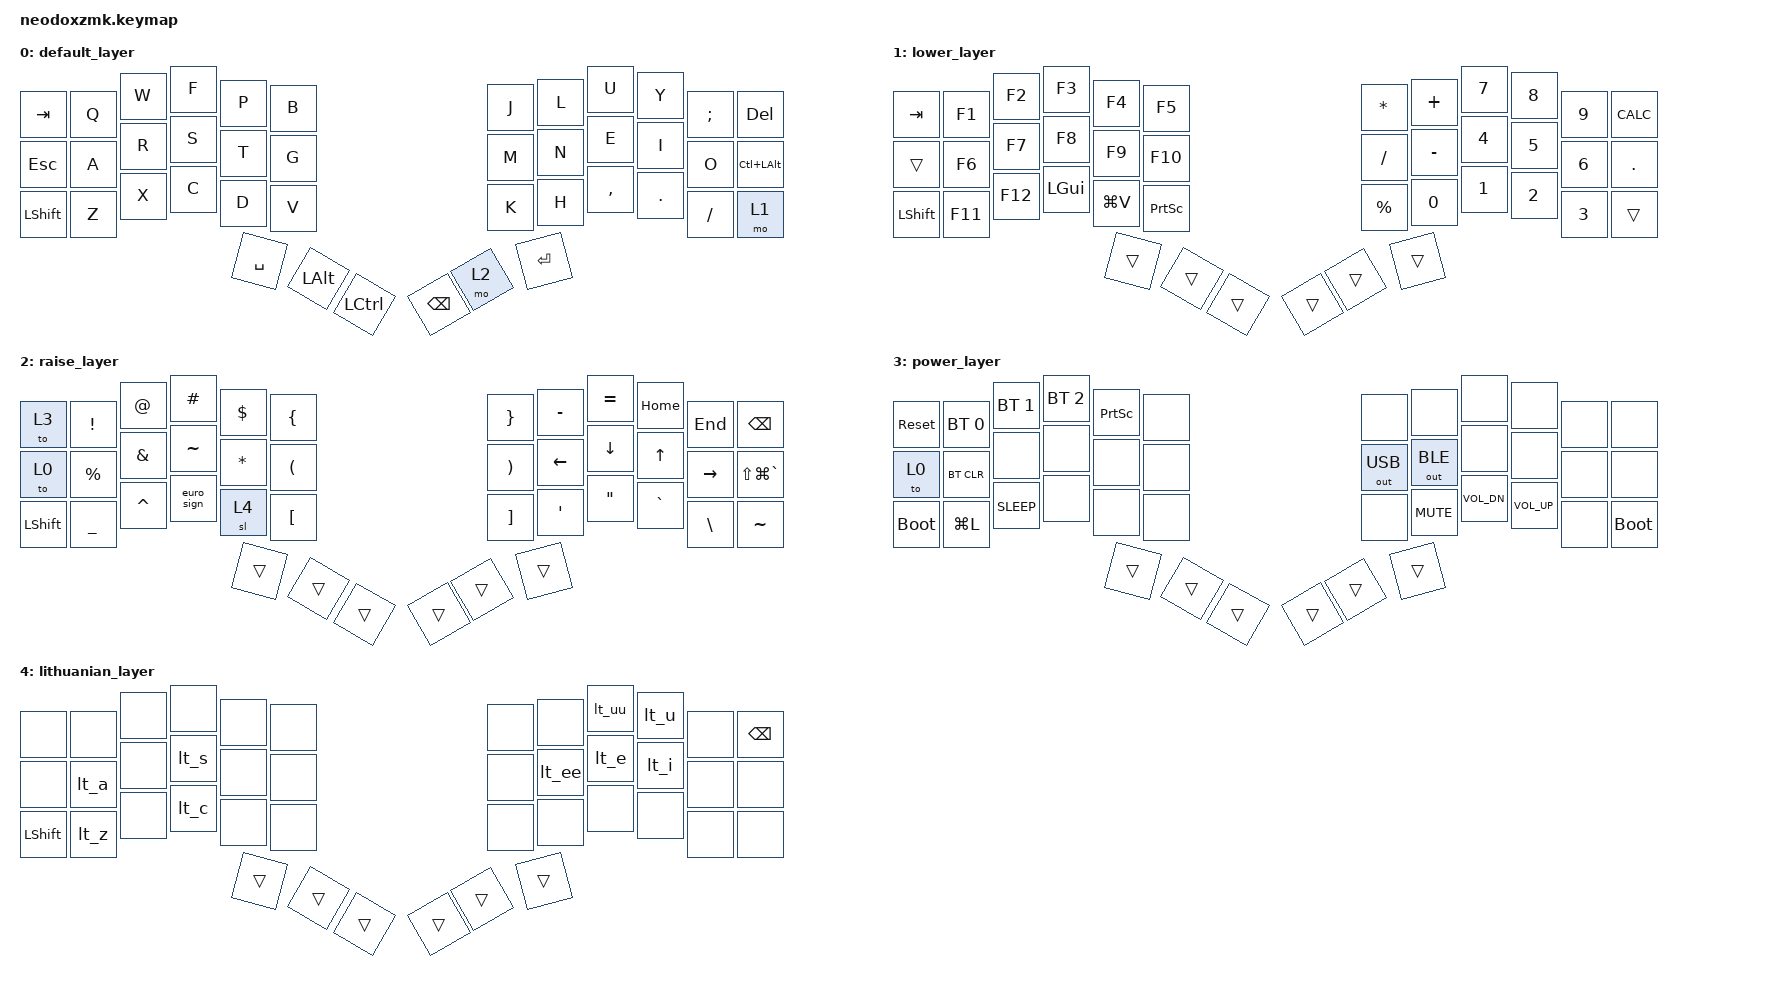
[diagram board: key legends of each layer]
#include <behaviors.dtsi>
#include <dt-bindings/zmk/keys.h>
#include <dt-bindings/zmk/bt.h>
#include <dt-bindings/zmk/outputs.h>

/ {
    /* Unicode via macOS "Unicode Hex Input" layout: hold Option and type the code point */
    macros {
        euro_sign: euro_sign { compatible = "zmk,behavior-macro"; #binding-cells = <0>; bindings = <&macro_press &kp LALT>, <&macro_tap &kp N2 &kp N0 &kp A &kp C>, <&macro_release &kp LALT>; };

        /* Lithuanian Macros (lowercase / uppercase) + Auto-Return to Layer 0 */
        lt_a_lo: lt_a_lo { compatible = "zmk,behavior-macro"; #binding-cells = <0>; bindings = <&macro_press &kp LALT>, <&macro_tap &kp N0 &kp N1 &kp N0 &kp N5>, <&macro_release &kp LALT>, <&to 0>; };
        lt_a_up: lt_a_up { compatible = "zmk,behavior-macro"; #binding-cells = <0>; bindings = <&macro_press &kp LALT>, <&macro_tap &kp N0 &kp N1 &kp N0 &kp N4>, <&macro_release &kp LALT>, <&to 0>; };
        lt_c_lo: lt_c_lo { compatible = "zmk,behavior-macro"; #binding-cells = <0>; bindings = <&macro_press &kp LALT>, <&macro_tap &kp N0 &kp N1 &kp N0 &kp D>, <&macro_release &kp LALT>, <&to 0>; };
        lt_c_up: lt_c_up { compatible = "zmk,behavior-macro"; #binding-cells = <0>; bindings = <&macro_press &kp LALT>, <&macro_tap &kp N0 &kp N1 &kp N0 &kp C>, <&macro_release &kp LALT>, <&to 0>; };
        lt_e_lo: lt_e_lo { compatible = "zmk,behavior-macro"; #binding-cells = <0>; bindings = <&macro_press &kp LALT>, <&macro_tap &kp N0 &kp N1 &kp N1 &kp N9>, <&macro_release &kp LALT>, <&to 0>; };
        lt_e_up: lt_e_up { compatible = "zmk,behavior-macro"; #binding-cells = <0>; bindings = <&macro_press &kp LALT>, <&macro_tap &kp N0 &kp N1 &kp N1 &kp N8>, <&macro_release &kp LALT>, <&to 0>; };
        lt_ee_lo: lt_ee_lo { compatible = "zmk,behavior-macro"; #binding-cells = <0>; bindings = <&macro_press &kp LALT>, <&macro_tap &kp N0 &kp N1 &kp N1 &kp N7>, <&macro_release &kp LALT>, <&to 0>; };
        lt_ee_up: lt_ee_up { compatible = "zmk,behavior-macro"; #binding-cells = <0>; bindings = <&macro_press &kp LALT>, <&macro_tap &kp N0 &kp N1 &kp N1 &kp N6>, <&macro_release &kp LALT>, <&to 0>; };
        lt_i_lo: lt_i_lo { compatible = "zmk,behavior-macro"; #binding-cells = <0>; bindings = <&macro_press &kp LALT>, <&macro_tap &kp N0 &kp N1 &kp N2 &kp F>, <&macro_release &kp LALT>, <&to 0>; };
        lt_i_up: lt_i_up { compatible = "zmk,behavior-macro"; #binding-cells = <0>; bindings = <&macro_press &kp LALT>, <&macro_tap &kp N0 &kp N1 &kp N2 &kp E>, <&macro_release &kp LALT>, <&to 0>; };
        lt_s_lo: lt_s_lo { compatible = "zmk,behavior-macro"; #binding-cells = <0>; bindings = <&macro_press &kp LALT>, <&macro_tap &kp N0 &kp N1 &kp N6 &kp N1>, <&macro_release &kp LALT>, <&to 0>; };
        lt_s_up: lt_s_up { compatible = "zmk,behavior-macro"; #binding-cells = <0>; bindings = <&macro_press &kp LALT>, <&macro_tap &kp N0 &kp N1 &kp N6 &kp N0>, <&macro_release &kp LALT>, <&to 0>; };
        lt_u_lo: lt_u_lo { compatible = "zmk,behavior-macro"; #binding-cells = <0>; bindings = <&macro_press &kp LALT>, <&macro_tap &kp N0 &kp N1 &kp N7 &kp N3>, <&macro_release &kp LALT>, <&to 0>; };
        lt_u_up: lt_u_up { compatible = "zmk,behavior-macro"; #binding-cells = <0>; bindings = <&macro_press &kp LALT>, <&macro_tap &kp N0 &kp N1 &kp N7 &kp N2>, <&macro_release &kp LALT>, <&to 0>; };
        lt_uu_lo: lt_uu_lo { compatible = "zmk,behavior-macro"; #binding-cells = <0>; bindings = <&macro_press &kp LALT>, <&macro_tap &kp N0 &kp N1 &kp N6 &kp B>, <&macro_release &kp LALT>, <&to 0>; };
        lt_uu_up: lt_uu_up { compatible = "zmk,behavior-macro"; #binding-cells = <0>; bindings = <&macro_press &kp LALT>, <&macro_tap &kp N0 &kp N1 &kp N6 &kp A>, <&macro_release &kp LALT>, <&to 0>; };
        lt_z_lo: lt_z_lo { compatible = "zmk,behavior-macro"; #binding-cells = <0>; bindings = <&macro_press &kp LALT>, <&macro_tap &kp N0 &kp N1 &kp N7 &kp E>, <&macro_release &kp LALT>, <&to 0>; };
        lt_z_up: lt_z_up { compatible = "zmk,behavior-macro"; #binding-cells = <0>; bindings = <&macro_press &kp LALT>, <&macro_tap &kp N0 &kp N1 &kp N7 &kp D>, <&macro_release &kp LALT>, <&to 0>; };
    };

    behaviors {
        /* Lithuanian letters: Shift picks uppercase */
        lt_a: lt_a { compatible = "zmk,behavior-mod-morph"; #binding-cells = <0>; bindings = <&lt_a_lo>, <&lt_a_up>; mods = <(MOD_LSFT|MOD_RSFT)>; };  /* ą Ą */
        lt_c: lt_c { compatible = "zmk,behavior-mod-morph"; #binding-cells = <0>; bindings = <&lt_c_lo>, <&lt_c_up>; mods = <(MOD_LSFT|MOD_RSFT)>; };  /* č Č */
        lt_e: lt_e { compatible = "zmk,behavior-mod-morph"; #binding-cells = <0>; bindings = <&lt_e_lo>, <&lt_e_up>; mods = <(MOD_LSFT|MOD_RSFT)>; };  /* ę Ę */
        lt_ee: lt_ee { compatible = "zmk,behavior-mod-morph"; #binding-cells = <0>; bindings = <&lt_ee_lo>, <&lt_ee_up>; mods = <(MOD_LSFT|MOD_RSFT)>; };  /* ė Ė */
        lt_i: lt_i { compatible = "zmk,behavior-mod-morph"; #binding-cells = <0>; bindings = <&lt_i_lo>, <&lt_i_up>; mods = <(MOD_LSFT|MOD_RSFT)>; };  /* į Į */
        lt_s: lt_s { compatible = "zmk,behavior-mod-morph"; #binding-cells = <0>; bindings = <&lt_s_lo>, <&lt_s_up>; mods = <(MOD_LSFT|MOD_RSFT)>; };  /* š Š */
        lt_u: lt_u { compatible = "zmk,behavior-mod-morph"; #binding-cells = <0>; bindings = <&lt_u_lo>, <&lt_u_up>; mods = <(MOD_LSFT|MOD_RSFT)>; };  /* ų Ų */
        lt_uu: lt_uu { compatible = "zmk,behavior-mod-morph"; #binding-cells = <0>; bindings = <&lt_uu_lo>, <&lt_uu_up>; mods = <(MOD_LSFT|MOD_RSFT)>; };  /* ū Ū */
        lt_z: lt_z { compatible = "zmk,behavior-mod-morph"; #binding-cells = <0>; bindings = <&lt_z_lo>, <&lt_z_up>; mods = <(MOD_LSFT|MOD_RSFT)>; };  /* ž Ž */
    };

    keymap {
        compatible = "zmk,keymap";

        /* LAYER 0: DEFAULT */
        default_layer {
            bindings = <
&kp TAB    &kp Q  &kp W  &kp F      &kp P      &kp B                    &kp J          &kp L  &kp U      &kp Y    &kp SEMI  &kp DEL
&kp ESC    &kp A  &kp R  &kp S      &kp T      &kp G                    &kp M          &kp N  &kp E      &kp I    &kp O     &kp LC(LALT)
&kp LSHFT  &kp Z  &kp X  &kp C      &kp D      &kp V                    &kp K          &kp H  &kp COMMA  &kp DOT  &kp FSLH  &mo 1
                         &kp SPACE  &kp LALT   &kp LCTRL                &kp BSPC       &mo 2  &kp ENTER
            >;
        };

        /* LAYER 1: LOWER */
        lower_layer {
            bindings = <
&kp TAB     &kp F1  &kp F2  &kp F3  &kp F4  &kp F5                 &kp ASTRK  &kp PLUS   &kp N7  &kp N8  &kp N9  &kp K_CALC
&trans      &kp F6  &kp F7  &kp F8  &kp F9  &kp F10                &kp SLASH  &kp MINUS  &kp N4  &kp N5  &kp N6  &kp DOT
&kp LSHFT   &kp F11 &kp F12 &kp LGUI &kp LG(V) &kp PSCRN              &kp PRCNT  &kp N0     &kp N1  &kp N2  &kp N3  &trans
                            &trans  &trans  &trans                 &trans     &trans     &trans
            >;
        };

        /* LAYER 2: RAISE */
        raise_layer {
            bindings = <
&to 3      &kp EXCL        &kp AT    &kp HASH   &kp DLLR   &kp LBRC      &kp RBRC  &kp MINUS  &kp EQUAL        &kp HOME  &kp END   &kp BSPC
&to 0      &kp PRCNT       &kp AMPS  &kp TILDE  &kp ASTRK  &kp LPAR      &kp RPAR  &kp LEFT   &kp DOWN         &kp UP    &kp RIGHT &kp LS(LG(GRAVE))
&kp LSHFT  &kp UNDERSCORE  &kp CARET &euro_sign &sl 4      &kp LBKT      &kp RBKT  &kp SQT    &kp DQT          &kp GRAVE &kp BSLH  &kp TILDE
                                     &trans     &trans     &trans        &trans    &trans     &trans
            >;
        };

        /* LAYER 3: POWER */
        power_layer {
            bindings = <
&sys_reset  &bt BT_SEL 0  &bt BT_SEL 1  &bt BT_SEL 2  &kp PSCRN      &none          &none          &none         &none         &none         &none  &none
&to 0        &bt BT_CLR    &none         &none         &none          &none          &out OUT_USB   &out OUT_BLE  &none         &none         &none  &none
&bootloader  &kp LG(L)     &kp K_SLEEP   &none         &none          &none          &none          &kp C_MUTE    &kp C_VOL_DN  &kp C_VOL_UP  &none  &bootloader
                                        &trans        &trans         &trans         &trans         &trans        &trans
            >;
        };

        /* LAYER 4: LITHUANIAN (Sticky/One-Shot) */
        lithuanian_layer {
            bindings = <
&none      &none     &none     &none     &none     &none          &none     &none     &lt_uu    &lt_u     &none     &kp BSPC
&none      &lt_a     &none     &lt_s     &none     &none          &none     &lt_ee    &lt_e     &lt_i     &none     &none
&kp LSHFT  &lt_z     &none     &lt_c     &none     &none          &none     &none     &none     &none     &none     &none
                               &trans    &trans    &trans         &trans    &trans    &trans
            >;
        };
    };
};
